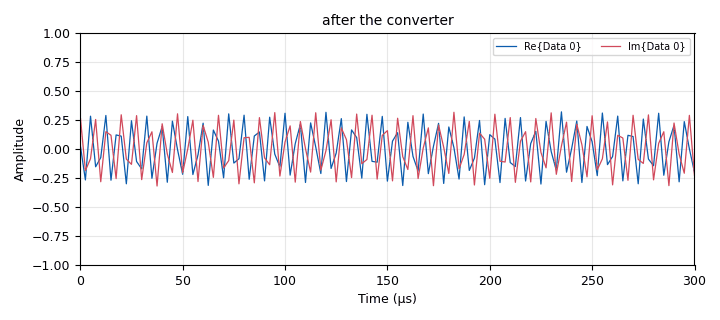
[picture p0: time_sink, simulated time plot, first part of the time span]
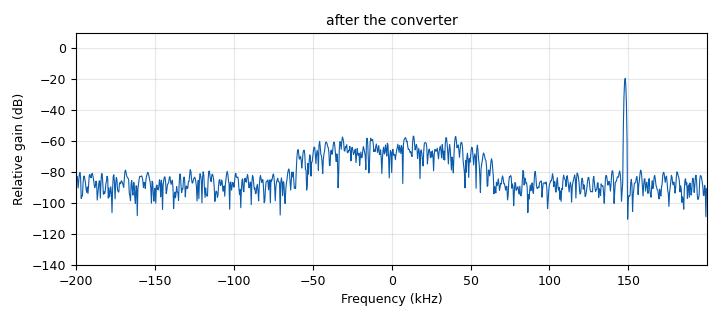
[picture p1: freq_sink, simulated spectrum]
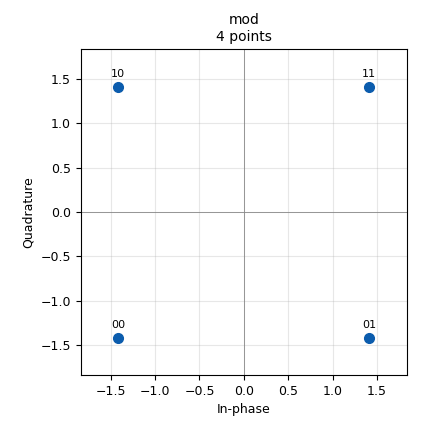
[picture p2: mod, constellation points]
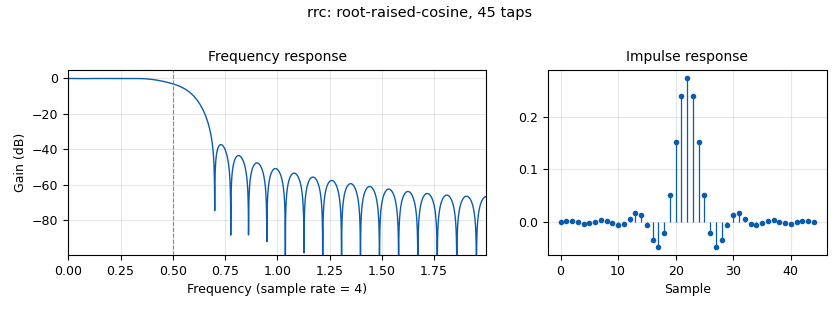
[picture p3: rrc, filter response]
options:
  parameters:
    id: loopback_qtgui
    title: rxtune radio-free loopback (Qt)
    author: gr-rxtune
    generate_options: qt_gui
    output_language: python
    description: Stock DSP plant; rxtune finds the gain ridge from the SNR dial alone.
  states: {}

blocks:
- name: samp_rate
  id: variable
  parameters:
    value: '400000'
  states: {}
- name: sps
  id: variable
  parameters:
    value: '4'
  states: {}
- name: qpsk
  id: variable_constellation
  parameters:
    type: qpsk
  states: {}
- name: note_air
  id: note
  parameters:
    note: 1. THE AIR
  states: {}
- name: bits
  id: analog_random_uniform_source_x
  parameters:
    type: byte
    minimum: '0'
    maximum: '256'
    seed: '1'
  states: {}
- name: mod
  id: digital_constellation_modulator
  parameters:
    constellation: qpsk
    differential: 'False'
    samples_per_symbol: sps
    excess_bw: '0.35'
  states: {}
- name: throttle
  id: blocks_throttle2
  parameters:
    type: complex
    samples_per_second: samp_rate
  states: {}
- name: antenna
  id: blocks_multiply_const_vxx
  parameters:
    type: complex
    const: '0.01'
    comment: weak wanted signal
  states: {}
- name: neighbour
  id: analog_sig_source_x
  parameters:
    type: complex
    samp_rate: '1'
    waveform: analog.GR_COS_WAVE
    freq: '0.37'
    amp: neighbour_level
    comment: strong out-of-band neighbour
  states: {}
- name: air
  id: blocks_add_xx
  parameters:
    type: complex
  states: {}
- name: chan
  id: channels_channel_model
  parameters:
    noise_voltage: '0.001'
    freq_offset: '0.0'
    epsilon: '1.0'
    taps: '1.0'
    seed: '1'
  states: {}
- name: to_radio
  id: virtual_sink
  parameters:
    stream_id: antenna_port
  states: {}
- name: note_radio
  id: note
  parameters:
    note: 2. THE RADIO
  states: {}
- name: from_air
  id: virtual_source
  parameters:
    stream_id: antenna_port
  states: {}
- name: gain_blk
  id: blocks_multiply_const_vxx
  parameters:
    type: complex
    const: '1.0'
    comment: THE KNOB (set by rxtune)
  states: {}
- name: c2f
  id: blocks_complex_to_float
  parameters: {}
  states: {}
- name: rail_i
  id: analog_rail_ff
  parameters:
    lo: '-1'
    hi: '1'
  states: {}
- name: rail_q
  id: analog_rail_ff
  parameters:
    lo: '-1'
    hi: '1'
  states: {}
- name: f2c
  id: blocks_float_to_complex
  parameters: {}
  states: {}
- name: conv_noise
  id: analog_noise_source_x
  parameters:
    type: complex
    noise_type: analog.GR_GAUSSIAN
    amp: '0.003'
    seed: '2'
    comment: converter noise
  states: {}
- name: adc
  id: blocks_add_xx
  parameters:
    type: complex
  states: {}
- name: to_demod
  id: virtual_sink
  parameters:
    stream_id: converter_out
  states: {}
- name: note_demod
  id: note
  parameters:
    note: 3. THE DECODER
  states: {}
- name: from_conv
  id: virtual_source
  parameters:
    stream_id: converter_out
  states: {}
- name: rrc
  id: root_raised_cosine_filter
  parameters:
    type: fir_filter_ccf
    decim: '1'
    gain: '1'
    samp_rate: sps
    sym_rate: '1'
    alpha: '0.35'
    ntaps: 11*sps
  states: {}
- name: agc
  id: analog_agc_xx
  parameters:
    type: complex
    rate: '1e-3'
    reference: '1.0'
    gain: '1.0'
    max_gain: '65536'
  states: {}
- name: sync
  id: digital_symbol_sync_xx
  parameters:
    type: cc
    ted_type: digital.TED_SIGNAL_TIMES_SLOPE_ML
    constellation: qpsk.base()
    sps: sps
    ted_gain: '1.0'
    loop_bw: '0.045'
    damping: '1.0'
    max_dev: '0.01'
    osps: '1'
    resamp_type: digital.IR_MMSE_8TAP
    comment: 'max deviation 0.01: with a wide clock range it never re-locks after an overload cell'
  states: {}
- name: to_dial
  id: virtual_sink
  parameters:
    stream_id: symbols
  states: {}
- name: note_loop
  id: note
  parameters:
    note: 4. DIAL + LOOP
  states: {}
- name: from_sync
  id: virtual_source
  parameters:
    stream_id: symbols
  states: {}
- name: probe
  id: rxtune_dial_probe
  parameters:
    estimator: m2m4
    msg_nsamples: '4000'
    alpha: '0.2'
    comment: alpha is part of the dial's settle time
  states: {}
- name: ctl
  id: rxtune_controller
  parameters:
    axes: '[{"name": "gain", "lo": -20, "hi": 40, "step": 1, "sense": "gain", "settle_s": 0.1}]'
    dialect: generic
    dial_name: SNR
    settle_s: '1.0'
    window_s: '0.8'
  states: {}
- name: setter
  id: rxtune_msg_setter
  parameters:
    target: gain_blk
    setters: '{"gain": lambda blk, db: blk.set_k(10.0 ** (float(db) / 20.0))}'
    getters: '{"gain": lambda blk: round(20.0 * __import__("math").log10(abs(blk.k())), 6)}'
    comment: 'Multiply Const has no message port: call set_k(), read k() back'
  states: {}
- name: debug
  id: blocks_message_debug
  parameters: {}
  states: {}
- name: neighbour_level
  id: variable_qtgui_range
  parameters:
    label: Neighbour level
    value: '0.3'
    start: '0'
    stop: '1.0'
    step: '0.01'
    gui_hint: 0,0,1,2
  states: {}
- name: from_conv_gui
  id: virtual_source
  parameters:
    stream_id: converter_out
  states: {}
- name: time_sink
  id: qtgui_time_sink_x
  parameters:
    type: complex
    name: '"after the converter"'
    size: '1024'
    srate: samp_rate
    gui_hint: 1,0,1,1
  states: {}
- name: freq_sink
  id: qtgui_freq_sink_x
  parameters:
    type: complex
    name: '"after the converter"'
    fftsize: '1024'
    bw: samp_rate
    gui_hint: 1,1,1,1
  states: {}
- name: to_mag
  id: blocks_complex_to_mag
  parameters: {}
  states: {}
- name: level_sink
  id: qtgui_number_sink
  parameters:
    type: float
    name: '"converter level"'
    graph_type: qtgui.NUM_GRAPH_HORIZ
    min: '0'
    max: '1.5'
    gui_hint: 2,0,1,1
  states: {}
- name: dash
  id: rxtune_dashboard
  parameters:
    label: rxtune
    units: dB
    dial_max: '35'
    gui_hint: 2,1,2,1
  states: {}

connections:
- [bits, '0', mod, '0']
- [mod, '0', throttle, '0']
- [throttle, '0', antenna, '0']
- [antenna, '0', air, '0']
- [neighbour, '0', air, '1']
- [air, '0', chan, '0']
- [chan, '0', to_radio, '0']
- [from_air, '0', gain_blk, '0']
- [gain_blk, '0', c2f, '0']
- [c2f, '0', rail_i, '0']
- [c2f, '1', rail_q, '0']
- [rail_i, '0', f2c, '0']
- [rail_q, '0', f2c, '1']
- [f2c, '0', adc, '0']
- [conv_noise, '0', adc, '1']
- [adc, '0', to_demod, '0']
- [from_conv, '0', rrc, '0']
- [rrc, '0', agc, '0']
- [agc, '0', sync, '0']
- [sync, '0', to_dial, '0']
- [from_sync, '0', probe, '0']
- [probe, dial, ctl, dial]
- [ctl, cmd, setter, cmd]
- [setter, readback, ctl, readback]
- [ctl, verdict, debug, print]
- [from_conv_gui, '0', time_sink, '0']
- [from_conv_gui, '0', freq_sink, '0']
- [from_conv_gui, '0', to_mag, '0']
- [to_mag, '0', level_sink, '0']
- [probe, dial, dash, dial]
- [ctl, status, dash, status]
- [ctl, verdict, dash, verdict]

metadata:
  file_format: 1
  grc_version: 3.10.12.0
